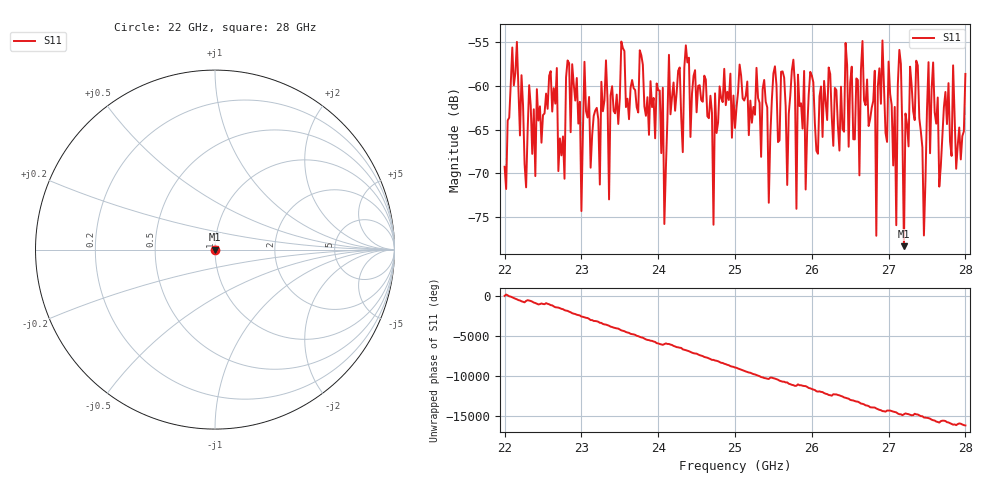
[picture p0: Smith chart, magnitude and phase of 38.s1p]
#  HZ  S  RI  R  50.00
! Rohde & Schwarz ZVA40 4Ports - Version 3.90 - 1145.1110k42 SN: 100403
! Date: 2023-10-04 06:50:03
! Measurement: S12
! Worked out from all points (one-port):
!   301 points, 22 GHz to 28 GHz, reference 50 ohm
!   lowest |S11| = -78.3 dB at 27.2 GHz (marker M1), VSWR 1.00, Z = 50 + j0.00155 ohm
!   |S11| at or under -10 dB: start of sweep to end of sweep
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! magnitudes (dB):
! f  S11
! 22 GHz  -69.2
! 22.16 GHz  -55.0
! 22.28 GHz  -71.6
! 22.76 GHz  -65.8
! 23.5 GHz  -61.4
! 24.06 GHz  -60.2
! 24.08 GHz  -75.8
! 24.14 GHz  -56.4
! 24.26 GHz  -58.3
! 24.68 GHz  -61.1
! 24.72 GHz  -75.9
! 24.74 GHz  -60.8
! 25 GHz  -64.8
! 25.68 GHz  -71.3
! 25.76 GHz  -57.0
! 25.8 GHz  -74.0
! 25.82 GHz  -58.7
! 25.92 GHz  -71.8
! 26.5 GHz  -59.6
! 26.82 GHz  -58.3
! 26.84 GHz  -77.1
! 26.92 GHz  -54.8
! 27.1 GHz  -75.9
! 27.14 GHz  -55.9
! 27.2 GHz  -78.3
! 27.26 GHz  -66.9
! 27.46 GHz  -77.1
! 28 GHz  -58.6
